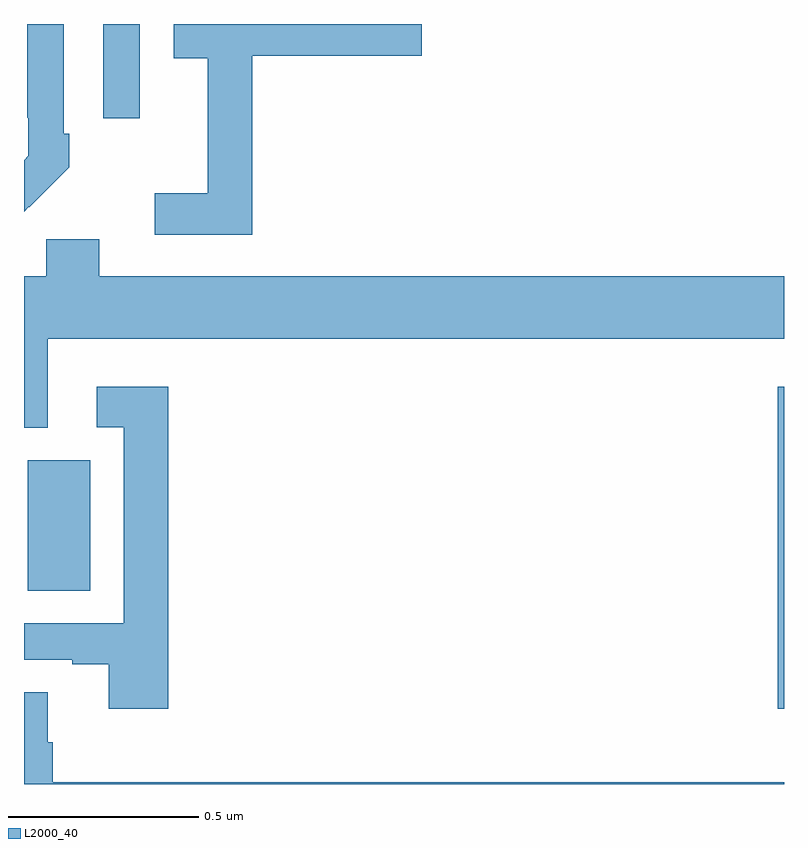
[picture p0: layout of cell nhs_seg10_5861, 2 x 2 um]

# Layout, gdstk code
import gdstk
lib = gdstk.Library(unit=1e-6, precision=1e-09)
def R(c, l, rs):  # rectangles x0, y0, x1, y1
    for r in rs: c.add(gdstk.rectangle(r[:2], r[2:], *l))
def P(c, l, *ps):  # polygons
    for p in ps: c.add(gdstk.Polygon(p, *l))
L2000_40 = (2000, 40)

nhs_seg10_5861 = lib.new_cell('nhs_seg10_5861')
R(nhs_seg10_5861, L2000_40, [(185.983,1276.698,186,1277.545), (184.01,1277.008,184.174,1277.352), (184.209,1278.252,184.305,1278.5)])
P(nhs_seg10_5861, L2000_40, [(184.601,1278.416),(185.047,1278.416),(185.047,1278.5),(184.394,1278.5),(184.394,1278.41),(184.484,1278.41),(184.484,1278.055),(184.344,1278.055),(184.344,1277.946),(184.601,1277.946)],
  [(184.013,1278.019),(184.014,1278.018),(184.119,1278.123),(184.119,1278.211),(184.104,1278.211),(184.104,1278.5),(184.008,1278.5),(184.008,1278.253),(184.011,1278.253),(184.011,1278.153),(184,1278.142),(184,1278.006)],
  [(184.063,1277.672),(186,1277.672),(186,1277.836),(184.198,1277.836),(184.198,1277.934),(184.059,1277.934),(184.059,1277.836),(184,1277.836),(184,1277.437),(184.063,1277.437)],
  [(184.379,1277.545),(184.191,1277.545),(184.191,1277.439),(184.263,1277.439),(184.263,1276.923),(184,1276.923),(184,1276.827),(184.127,1276.827),(184.127,1276.815),(184.223,1276.815),(184.223,1276.698),(184.379,1276.698)],
  [(186,1276.504),(184.076,1276.504),(184.076,1276.61),(184.063,1276.61),(184.063,1276.742),(184,1276.742),(184,1276.5),(186,1276.5)])

lib.write_gds('nhs_seg10_5861.gds')
